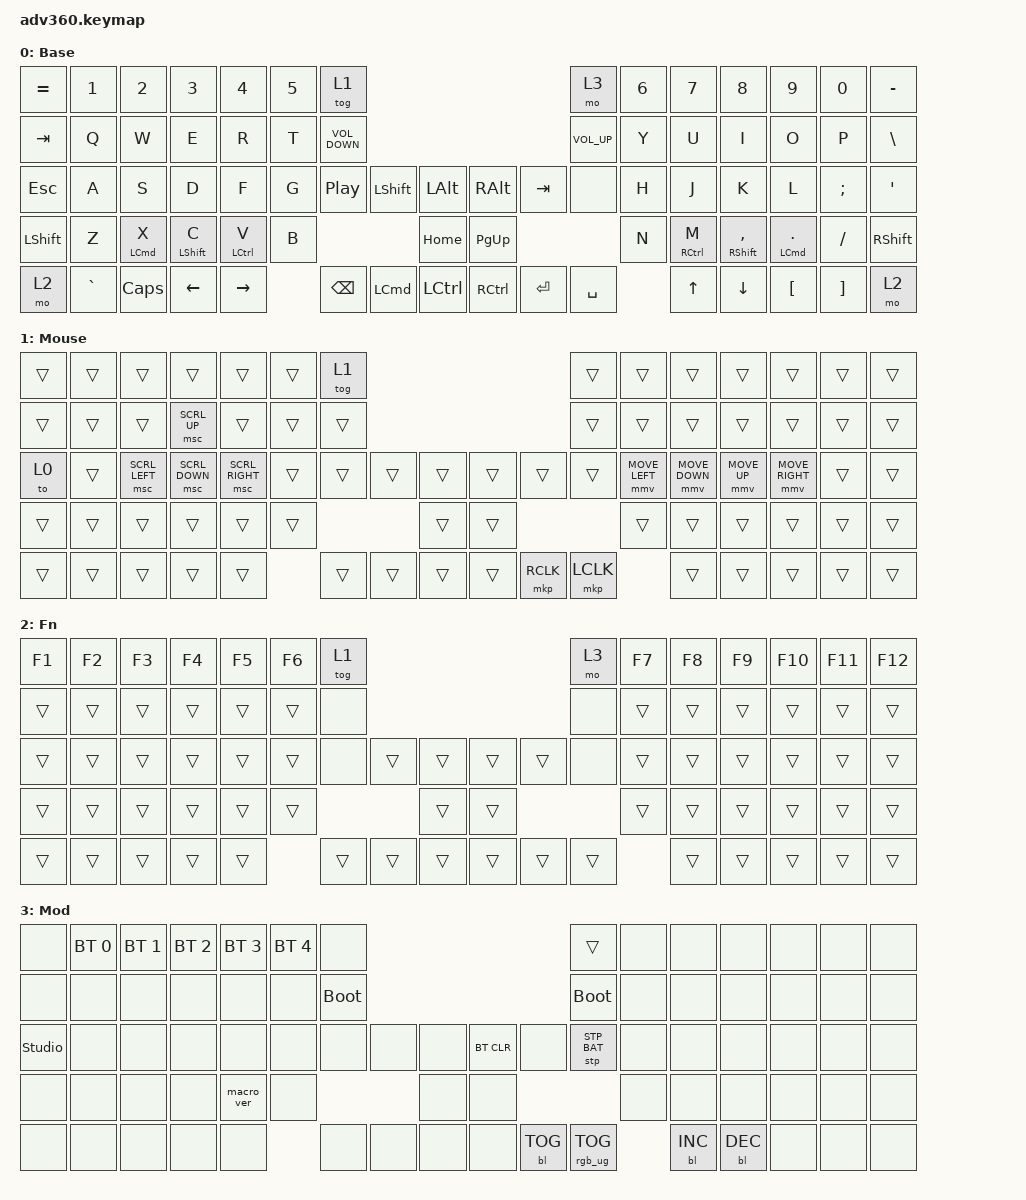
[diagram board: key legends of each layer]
/*
 * Copyright (c) 2020 The ZMK Contributors
 *
 * SPDX-License-Identifier: MIT
 */
/* THIS FILE WAS GENERATED!
 *
 * This file was generated automatically. You may or may not want to
 * edit it directly.
 */

#include <behaviors.dtsi>
#include <dt-bindings/zmk/backlight.h>
#include <dt-bindings/zmk/bt.h>
#include <dt-bindings/zmk/keys.h>
#include <dt-bindings/zmk/rgb.h>
#include <dt-bindings/zmk/stp.h>
#define ZMK_POINTING_DEFAULT_MOVE_VAL 1200
#include <dt-bindings/zmk/pointing.h>

/ {
    behaviors {
        #include "macros.dtsi"
    #include "version.dtsi"

        hm: homerow_mods {
            compatible = "zmk,behavior-hold-tap";
            #binding-cells = <2>;
            tapping-term-ms = <150>;
            quick-tap-ms = <0>;
            flavor = "tap-preferred";
            bindings = <&kp>, <&kp>;
        };
    };

    keymap {
        compatible = "zmk,keymap";

        default_layer {
            display-name = "Base";
            bindings = <
&kp EQUAL  &kp N1     &kp N2      &kp N3        &kp N4       &kp N5  &tog 1                                                                      &mo 3         &kp N6  &kp N7       &kp N8                 &kp N9        &kp N0    &kp MINUS
&kp TAB    &kp Q      &kp W       &kp E         &kp R        &kp T   &kp C_VOLUME_DOWN                                                           &kp C_VOL_UP  &kp Y   &kp U        &kp I                  &kp O         &kp P     &kp BSLH
&kp ESC    &kp A      &kp S       &kp D         &kp F        &kp G   &kp C_PLAY_PAUSE   &kp LEFT_SHIFT  &kp LALT       &kp RIGHT_ALT  &kp TAB    &none         &kp H   &kp J        &kp K                  &kp L         &kp SEMI  &kp SQT
&kp LSHFT  &kp Z      &hm LCMD X  &hm LSHIFT C  &hm LCTRL V  &kp B                                      &kp HOME       &kp PG_UP                               &kp N   &hm RCTRL M  &hm RIGHT_SHIFT COMMA  &hm LCMD DOT  &kp FSLH  &kp RSHFT
&mo 2      &kp GRAVE  &kp CAPS    &kp LEFT      &kp RIGHT            &kp BSPC           &kp LCMD        &kp LCTRL      &kp RCTRL      &kp ENTER  &kp SPACE             &kp UP       &kp DOWN               &kp LBKT      &kp RBKT  &mo 2
            >;
        };

        layer_mouse {
            display-name = "Mouse";
            bindings = <
                &trans  &trans  &trans  &trans  &trans  &trans  &tog 1  &trans  &trans  &trans  &trans  &trans  &trans  &trans
                &trans  &trans  &trans  &msc SCRL_UP  &trans  &trans  &trans  &trans  &trans  &trans  &trans  &trans  &trans  &trans
                &to 0  &trans  &msc SCRL_LEFT  &msc SCRL_DOWN  &msc SCRL_RIGHT  &trans  &trans  &trans  &trans  &trans  &trans  &trans  &mmv MOVE_LEFT  &mmv MOVE_DOWN  &mmv MOVE_UP  &mmv MOVE_RIGHT  &trans  &trans  &trans  &trans
                &trans  &trans  &trans  &trans  &trans  &trans  &trans  &trans  &trans  &trans  &trans  &trans  &trans  &trans
                &trans  &trans  &trans  &trans  &trans  &trans  &trans  &mkp RCLK  &mkp LCLK  &trans  &trans  &trans  &trans  &trans
            >;
        };

        layer_fn {
            display-name = "Fn";
            bindings = <
&kp F1  &kp F2  &kp F3  &kp F4  &kp F5  &kp F6  &tog 1                                      &mo 3   &kp F7  &kp F8  &kp F9  &kp F10  &kp F11  &kp F12
&trans  &trans  &trans  &trans  &trans  &trans  &none                                       &none   &trans  &trans  &trans  &trans   &trans   &trans
&trans  &trans  &trans  &trans  &trans  &trans  &none   &trans  &trans      &trans  &trans  &none   &trans  &trans  &trans  &trans   &trans   &trans
&trans  &trans  &trans  &trans  &trans  &trans                  &trans      &trans                  &trans  &trans  &trans  &trans   &trans   &trans
&trans  &trans  &trans  &trans  &trans          &trans  &trans  &trans      &trans  &trans  &trans          &trans  &trans  &trans   &trans   &trans
            >;
        };

        layer_mod {
            display-name = "Mod";
            bindings = <
&none  &bt BT_SEL 0  &bt BT_SEL 1  &bt BT_SEL 2  &bt BT_SEL 3  &bt BT_SEL 4  &none                                                  &trans                  &none  &none       &none       &none  &none  &none
&none  &none         &none         &none         &none         &none         &bootloader                                            &bootloader             &none  &none       &none       &none  &none  &none
&studio_unlock  &none         &none         &none         &none         &none         &none        &none  &none      &bt BT_CLR  &none       &stp STP_BAT  &none  &none       &none       &none  &none  &none
&none  &none         &none         &none         &macro_ver    &none                             &none      &none                                           &none  &none       &none       &none  &none  &none
&none  &none         &none         &none         &none                       &none        &none  &none      &none       &bl BL_TOG  &rgb_ug RGB_TOG                &bl BL_INC  &bl BL_DEC  &none  &none  &none
            >;
        };
        extra1 {
            display-name = "Red";
            status = "reserved";
        };
        extra2 {
            display-name = "Purple";
            status = "reserved";
        };
        extra3 {
            display-name = "Cyan";
            status = "reserved";
        };
        extra4 {
            display-name = "Yellow";
            status = "reserved";
        };
    };
};
